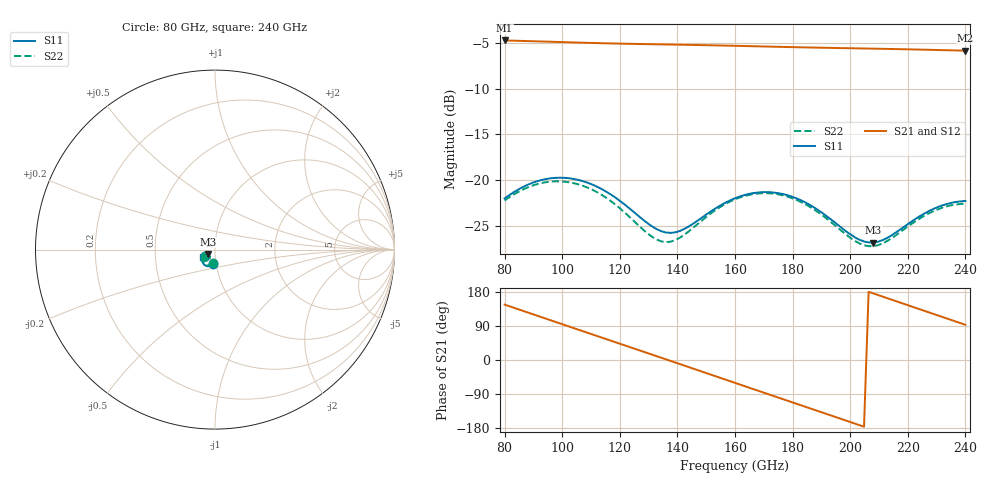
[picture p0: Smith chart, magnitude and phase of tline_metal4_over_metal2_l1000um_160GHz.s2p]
#  GHZ S DB R 50
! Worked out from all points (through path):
!   101 points, 80 GHz to 240 GHz, reference 50 ohm
!   highest |S21| = -4.76 dB at 80 GHz (marker M1); lowest = -5.9 dB at 240 GHz (marker M2)
!   group delay of S21, straight-line fit = 7.17 ps
!   lowest |S11| = -26.8 dB at 208 GHz (marker M3), VSWR 1.10, Z = 46.2 - j2.29 ohm
!   |S11| at or under -10 dB: start of sweep to end of sweep
!   |S22| runs from -27.2 to -20.1 dB; largest |S21 - S12| = 9.6e-14
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80  -21.98 -98.9  -4.76 146.2  -4.76 146.2  -22.21 -99.6
88  -20.49 -105.9  -4.83 125.5  -4.83 125.5  -20.78 -106.8
94.4  -19.86 -114.9  -4.89 108.9  -4.89 108.9  -20.21 -115.9
100.8  -19.74 -124.8  -4.95 92.4  -4.95 92.4  -20.15 -126.0
107.2  -20.10 -134.6  -5.00 75.9  -5.00 75.9  -20.61 -135.9
113.6  -20.94 -143.2  -5.06 59.5  -5.06 59.5  -21.58 -144.5
121.6  -22.63 -150.0  -5.11 38.9  -5.11 38.9  -23.49 -151.0
128  -24.28 -149.7  -5.15 22.4  -5.15 22.4  -25.36 -149.3
134.4  -25.56 -142.3  -5.19 5.9  -5.19 5.9  -26.66 -139.0
139.2  -25.68 -134.0  -5.21 -6.5  -5.21 -6.5  -26.54 -128.8
147.2  -24.36 -125.1  -5.26 -27.2  -5.26 -27.2  -24.73 -120.1
160  -21.96 -130.6  -5.34 -60.3  -5.34 -60.3  -22.08 -127.8
166.4  -21.40 -137.9  -5.39 -76.9  -5.39 -76.9  -21.50 -135.9
172.8  -21.32 -146.0  -5.44 -93.4  -5.44 -93.4  -21.44 -144.7
179.2  -21.73 -153.9  -5.48 -109.9  -5.48 -109.9  -21.89 -153.2
187.2  -22.91 -161.6  -5.53 -130.6  -5.53 -130.6  -23.14 -161.4
198.4  -25.52 -162.1  -5.60 -159.5  -5.60 -159.5  -25.88 -162.0
208  -26.79 -147.2  -5.65 175.7  -5.65 175.7  -27.19 -146.4
214.4  -26.00 -137.2  -5.69 159.2  -5.69 159.2  -26.32 -136.2
227.2  -23.38 -136.0  -5.78 126.0  -5.78 126.0  -23.63 -135.7
233.6  -22.59 -141.2  -5.82 109.5  -5.82 109.5  -22.84 -141.4
240  -22.26 -147.8  -5.87 92.9  -5.87 92.9  -22.56 -148.5
